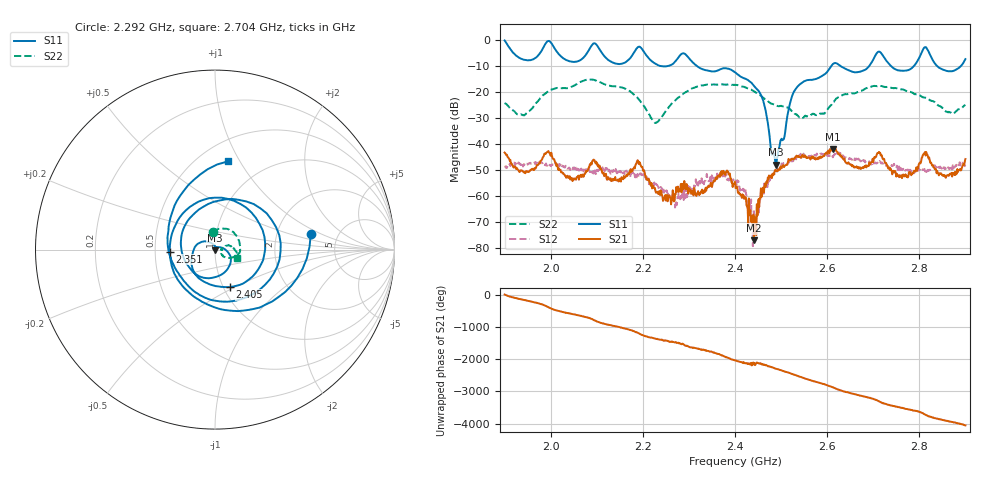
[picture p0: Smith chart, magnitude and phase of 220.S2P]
! C:\Users\rflab\Downloads\Lab5_KD_ZW\220.S2P
! Touchstone 1.1 file saved by VNA.EXE V1.65 (www.ke5fx.com/gpib/readme.htm)
! 11/12/2024 12:21:51 AM
!  Source: HEWLETT PACKARD,8753D,0,6.14
!  Min freq: 1.900000E+009 Hz
!  Max freq: 2.900000E+009 Hz
!  Points: 801
!  Params: S11 S21 S12 S22
# GHZ S RI R 50
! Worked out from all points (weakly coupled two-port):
!   801 points, 1.9 GHz to 2.9 GHz, reference 50 ohm
!   highest |S21| = -41.73 dB at 2.612 GHz (marker M1); lowest = -76.9 dB at 2.441 GHz (marker M2)
!   lowest |S11| = -47.8 dB at 2.489 GHz (marker M3), VSWR 1.01, Z = 49.9 - j0.39 ohm
!   |S11| at or under -10 dB: 2.318 GHz to 2.608 GHz (290 MHz wide, 11.8 % of centre); 2.63 GHz to 2.691 GHz (60.44 MHz wide, 2.27 % of centre); 2.839 GHz to 2.89 GHz (50.09 MHz wide, 1.75 % of centre) (the widest 3 of 5)
!   |S22| runs from -31.7 to -15.0 dB; largest |S21 - S12| = 0.0041
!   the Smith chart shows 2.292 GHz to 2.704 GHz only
!   S11 on the Smith chart (normalised r, x): 2.292 GHz: 3.15, +0.77; 2.351 GHz: 0.60, -0.01; 2.405 GHz: 1.08, -0.47; 2.704 GHz: 0.68, +0.89
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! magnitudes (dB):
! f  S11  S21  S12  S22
! 1.9 GHz  0.0  -43.2  -48.3  -24.1
! 1.942 GHz  -7.5  -50.8  -48.0  -28.8
! 1.994 GHz  -0.3  -42.8  -48.0  -19.7
! 2.067 GHz  -7.2  -52.5  -50.0  -15.8
! 2.19 GHz  -2.5  -46.5  -51.7  -22.4
! 2.234 GHz  -9.6  -59.1  -56.4  -31.1
! 2.292 GHz  -5.3  -57.3  -60.6  -20.0
! 2.351 GHz  -11.9  -55.3  -51.5  -17.0
! 2.4 GHz  -12.2  -54.4  -54.4  -17.1
! 2.405 GHz  -13.0  -56.4  -53.7  -17.2
! 2.441 GHz  -17.5  -76.9  -64.9  -19.6
! 2.461 GHz  -23.2  -56.5  -57.4  -22.1
! 2.489 GHz  -47.8  -50.2  -50.2  -25.0
! 2.527 GHz  -19.8  -45.5  -45.8  -28.0
! 2.567 GHz  -15.1  -45.3  -43.9  -28.3
! 2.612 GHz  -9.1  -41.7  -45.0  -24.2
! 2.704 GHz  -6.1  -45.1  -47.2  -17.5
! 2.734 GHz  -9.0  -49.3  -49.1  -17.9
! 2.777 GHz  -11.3  -50.8  -50.2  -19.8
! 2.812 GHz  -2.6  -42.9  -50.3  -22.0
! 2.854 GHz  -11.4  -51.7  -48.8  -26.7
! 2.9 GHz  -7.2  -45.6  -47.6  -24.8
